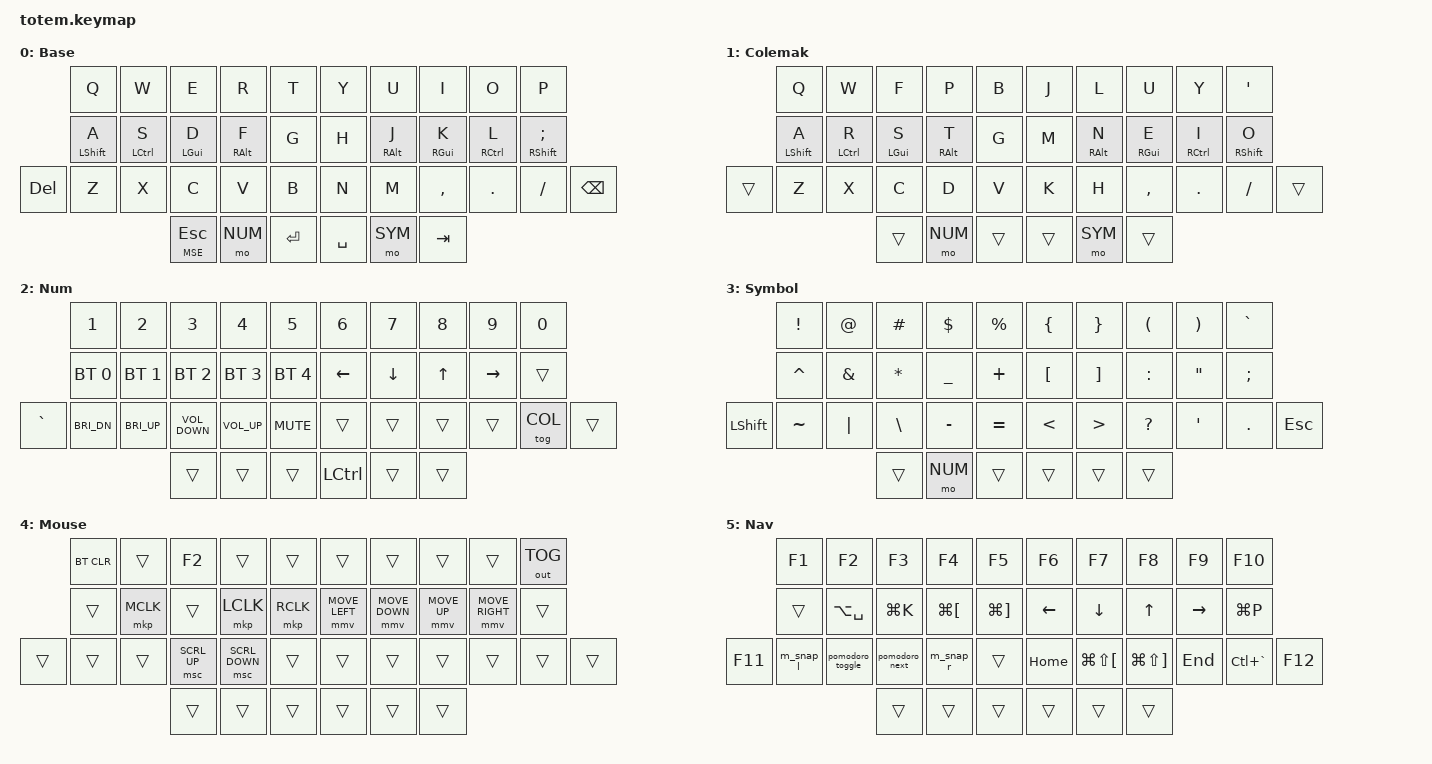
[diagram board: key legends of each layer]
/*
 * TOTEM keymap - migrated from Corne config.
 * See docs/superpowers/specs/2026-08-12-corne-to-totem-migration-design.md
 *
 * Key positions (from totem shield transform):
 * Row0:      0  1  2  3  4 |  5  6  7  8  9
 * Row1:     10 11 12 13 14 | 15 16 17 18 19
 * Row2: 20 21 22 23 24 25  | 26 27 28 29 30 31
 * Thumb:       32 33 34    | 35 36 37
 */

#include <behaviors.dtsi>
#include <dt-bindings/zmk/bt.h>
#include <dt-bindings/zmk/keys.h>
#include <dt-bindings/zmk/outputs.h>
#include <dt-bindings/zmk/pointing.h>

#define BASE 0
#define COL  1
#define NUM  2
#define SYM  3
#define MSE  4
#define NAV  5

&mmv { time-to-max-speed-ms = <450>; };

&msc { acceleration-exponent = <1>; };

/ {
    combos {
        compatible = "zmk,combos";

        combo_esc {
            timeout-ms = <50>;
            require-prior-idle-ms = <50>;
            key-positions = <16 17>;
            bindings = <&kp ESC>;
        };

        combo_bspc {
            timeout-ms = <50>;
            require-prior-idle-ms = <50>;
            key-positions = <15 16>;
            bindings = <&kp BSPC>;
        };

        combo_semi {
            timeout-ms = <50>;
            require-prior-idle-ms = <50>;
            key-positions = <17 18>;
            bindings = <&kp SEMI>;
        };

        combo_arrow {
            timeout-ms = <50>;
            require-prior-idle-ms = <50>;
            key-positions = <12 13>;
            bindings = <&m_arrow>;
        };

        combo_interp {
            timeout-ms = <50>;
            require-prior-idle-ms = <50>;
            key-positions = <11 12>;
            bindings = <&m_interp>;
        };

        combo_strict {
            timeout-ms = <50>;
            require-prior-idle-ms = <50>;
            key-positions = <13 14>;
            bindings = <&m_strict>;
        };

        combo_screenshot {
            timeout-ms = <50>;
            require-prior-idle-ms = <50>;
            key-positions = <7 8>;
            bindings = <&m_screenshot>;
        };

        combo_reset {
            timeout-ms = <50>;
            require-prior-idle-ms = <50>;
            key-positions = <9 20 31>;
            bindings = <&sys_reset>;
        };

        combo_bootloader {
            timeout-ms = <50>;
            require-prior-idle-ms = <50>;
            key-positions = <10 20 31>;
            bindings = <&bootloader>;
        };
    };

    conditional_layers {
        compatible = "zmk,conditional-layers";
        tri_layer {
            if-layers = <NUM SYM>;
            then-layer = <NAV>;
        };
    };

    macros {
        m_arrow: m_arrow {
            compatible = "zmk,behavior-macro";
            #binding-cells = <0>;
            bindings = <&kp EQUAL &kp GREATER_THAN>;
            label = "M_ARROW";
        };

        m_interp: m_interp {
            compatible = "zmk,behavior-macro";
            #binding-cells = <0>;
            bindings = <&kp DOLLAR &kp LBRC &kp RBRC &kp LEFT>;
            label = "M_INTERP";
        };

        m_strict: m_strict {
            compatible = "zmk,behavior-macro";
            #binding-cells = <0>;
            bindings = <&kp EXCL &kp EQUAL &kp EQUAL>;
            label = "M_STRICT";
        };

        m_snap_l: m_snap_l {
            compatible = "zmk,behavior-macro";
            #binding-cells = <0>;
            bindings = <&kp LG(LA(LEFT))>;
            label = "M_SNAP_L";
        };

        m_snap_r: m_snap_r {
            compatible = "zmk,behavior-macro";
            #binding-cells = <0>;
            bindings = <&kp LG(LA(RIGHT))>;
            label = "M_SNAP_R";
        };

        m_snap_m: m_snap_m {
            compatible = "zmk,behavior-macro";
            #binding-cells = <0>;
            bindings = <&kp LG(LA(F))>;
            label = "M_SNAP_M";
        };

        m_snap_c: m_snap_c {
            compatible = "zmk,behavior-macro";
            #binding-cells = <0>;
            bindings = <&kp LG(LA(C))>;
            label = "M_SNAP_C";
        };

        m_screenshot: m_screenshot {
            compatible = "zmk,behavior-macro";
            #binding-cells = <0>;
            bindings = <&kp LG(LC(LS(N4)))>;
            label = "M_SCREENSHOT";
        };
    };

    behaviors {
        mode_tap_left: mode_tap_left {
            compatible = "zmk,behavior-hold-tap";
            label = "MODE_TAP_LEFT";
            bindings = <&kp>, <&kp>;

            #binding-cells = <2>;
            tapping-term-ms = <220>;
            flavor = "balanced";
            require-prior-idle-ms = <60>;
            quick-tap-ms = <175>;
            hold-trigger-on-release;
            hold-trigger-key-positions = <5 6 7 8 9 15 16 17 18 19 26 27 28 29 30 31 35 36 37>;
        };

        mode_tap_right: mode_tap_right {
            compatible = "zmk,behavior-hold-tap";
            label = "MODE_TAP_RIGHT";
            bindings = <&kp>, <&kp>;

            #binding-cells = <2>;
            tapping-term-ms = <220>;
            flavor = "balanced";
            require-prior-idle-ms = <60>;
            quick-tap-ms = <175>;
            hold-trigger-on-release;
            hold-trigger-key-positions = <0 1 2 3 4 10 11 12 13 14 20 21 22 23 24 25 32 33 34>;
        };

        pomodoro_toggle: pomodoro_toggle {
            compatible = "zmk,behavior-pomodoro";
            label = "POMODORO_TOGGLE";
            #binding-cells = <0>;
            action = <0>;
        };

        pomodoro_next: pomodoro_next {
            compatible = "zmk,behavior-pomodoro";
            label = "POMODORO_NEXT";
            #binding-cells = <0>;
            action = <1>;
        };
    };

    keymap {
        compatible = "zmk,keymap";

        BASE {
            display-name = "Base";

            // ---------------------------------------------------------------
            // |  Q  |  W  |  E  |  R  |  T  |   |  Y  |  U  |  I  |  O  |  P  |
            // |  A  |  S  |  D  |  F  |  G  |   |  H  |  J  |  K  |  L  |  ;  |
            // | DEL |  Z  |  X  |  C  |  V  |  B  |  N  |  M  |  ,  |  .  |  /  | BSPC |
            //               | MSE | NUM | ENT |   | SPC | SYM | TAB |

            bindings = <
&kp Q  &kp W  &kp E  &kp R  &kp T     &kp Y  &kp U  &kp I  &kp O  &kp P
&mode_tap_left LEFT_SHIFT A  &mode_tap_left LEFT_CONTROL S  &mode_tap_left LEFT_GUI D  &mode_tap_left RIGHT_ALT F  &kp G     &kp H  &mode_tap_right RIGHT_ALT J  &mode_tap_right RIGHT_GUI K  &mode_tap_right RIGHT_CONTROL L  &mode_tap_right RIGHT_SHIFT SEMICOLON
&kp DEL  &kp Z  &kp X  &kp C  &kp V  &kp B     &kp N  &kp M  &kp COMMA  &kp DOT  &kp FSLH  &kp BSPC
&lt MSE ESCAPE  &mo NUM  &kp ENTER     &kp SPACE  &mo SYM  &kp TAB
            >;
        };

        COL {
            display-name = "Colemak";

            bindings = <
&kp Q  &kp W  &kp F  &kp P  &kp B     &kp J  &kp L  &kp U  &kp Y  &kp SQT
&mode_tap_left LEFT_SHIFT A  &mode_tap_left LEFT_CONTROL R  &mode_tap_left LEFT_GUI S  &mode_tap_left RIGHT_ALT T  &kp G     &kp M  &mode_tap_right RIGHT_ALT N  &mode_tap_right RIGHT_GUI E  &mode_tap_right RIGHT_CONTROL I  &mode_tap_right RIGHT_SHIFT O
&trans  &kp Z  &kp X  &kp C  &kp D  &kp V     &kp K  &kp H  &kp COMMA  &kp PERIOD  &kp SLASH  &trans
&trans  &mo NUM  &trans     &trans  &mo SYM  &trans
            >;
        };

        NUM {
            display-name = "Num";

            bindings = <
&kp N1  &kp N2  &kp N3  &kp N4  &kp N5     &kp N6  &kp N7  &kp N8  &kp N9  &kp N0
&bt BT_SEL 0  &bt BT_SEL 1  &bt BT_SEL 2  &bt BT_SEL 3  &bt BT_SEL 4     &kp LEFT  &kp DOWN  &kp UP  &kp RIGHT  &trans
&kp GRAVE  &kp C_BRI_DN  &kp C_BRI_UP  &kp C_VOLUME_DOWN  &kp C_VOL_UP  &kp K_MUTE     &trans  &trans  &trans  &trans  &tog COL  &trans
&trans  &trans  &trans     &kp LEFT_CONTROL  &trans  &trans
            >;
        };

        SYM {
            display-name = "Symbol";

            bindings = <
&kp EXCL  &kp AT_SIGN  &kp HASH  &kp DOLLAR  &kp PERCENT     &kp LBRC  &kp RBRC  &kp LPAR  &kp RPAR  &kp GRAVE
&kp CARET  &kp AMPERSAND  &kp ASTERISK  &kp UNDERSCORE  &kp PLUS     &kp LEFT_BRACKET  &kp RIGHT_BRACKET  &kp COLON  &kp DOUBLE_QUOTES  &kp SEMI
&kp LSHFT  &kp TILDE  &kp PIPE  &kp BSLH  &kp MINUS  &kp EQUAL     &kp LESS_THAN  &kp GREATER_THAN  &kp QUESTION  &kp SQT  &kp PERIOD  &kp ESC
&trans  &mo NUM  &trans     &trans  &trans  &trans
            >;
        };

        MSE {
            display-name = "Mouse";

            bindings = <
&bt BT_CLR  &trans  &kp F2  &trans  &trans     &trans  &trans  &trans  &trans  &out OUT_TOG
&trans  &mkp MCLK  &trans  &mkp LCLK  &mkp RCLK     &mmv MOVE_LEFT  &mmv MOVE_DOWN  &mmv MOVE_UP  &mmv MOVE_RIGHT  &trans
&trans  &trans  &trans  &msc SCRL_UP  &msc SCRL_DOWN  &trans     &trans  &trans  &trans  &trans  &trans  &trans
&trans  &trans  &trans     &trans  &trans  &trans
            >;
        };

        NAV {
            display-name = "Nav";

            bindings = <
&kp F1  &kp F2  &kp F3  &kp F4  &kp F5     &kp F6  &kp F7  &kp F8  &kp F9  &kp F10
&trans  &kp LA(SPACE)  &kp LG(K)  &kp LG(LBKT)  &kp LG(RBKT)     &kp LEFT  &kp DOWN  &kp UP  &kp RIGHT  &kp LG(P)
&kp F11  &m_snap_l  &pomodoro_toggle  &pomodoro_next  &m_snap_r  &trans     &kp HOME  &kp LG(LS(LBKT))  &kp LG(LS(RBKT))  &kp END  &kp LC(GRAVE)  &kp F12
&trans  &trans  &trans     &trans  &trans  &trans
            >;
        };
    };
};
